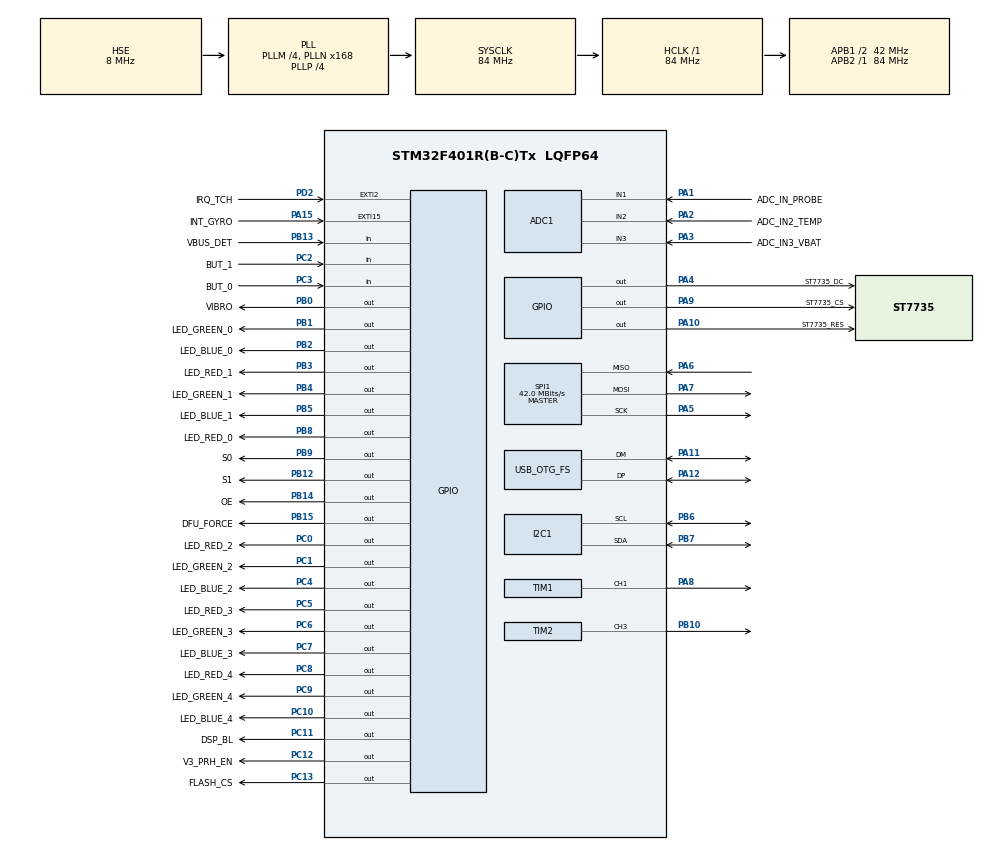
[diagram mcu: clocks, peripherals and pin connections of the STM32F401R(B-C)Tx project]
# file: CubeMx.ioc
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ADC1.Channel-0\#ChannelRegularConversion=ADC_CHANNEL_1
ADC1.ContinuousConvMode=DISABLE
ADC1.DiscontinuousConvMode=DISABLE
ADC1.NbrOfConversion=1
ADC1.NbrOfConversionFlag=1
ADC1.Rank-0\#ChannelRegularConversion=1
ADC1.SamplingTime-0\#ChannelRegularConversion=ADC_SAMPLETIME_112CYCLES
ADC1.ScanConvMode=DISABLE
ADC1.master=1
Dma.Request0=SPI1_RX
Dma.Request1=SPI1_TX
Dma.SPI1_RX.0.Direction=DMA_PERIPH_TO_MEMORY
Dma.SPI1_RX.0.FIFOMode=DMA_FIFOMODE_DISABLE
Dma.SPI1_RX.0.Instance=DMA2_Stream0
Dma.SPI1_RX.0.MemDataAlignment=DMA_MDATAALIGN_BYTE
Dma.SPI1_RX.0.MemInc=DMA_MINC_ENABLE
Dma.SPI1_RX.0.Mode=DMA_NORMAL
Dma.SPI1_RX.0.PeriphDataAlignment=DMA_PDATAALIGN_BYTE
Dma.SPI1_RX.0.PeriphInc=DMA_PINC_DISABLE
Dma.SPI1_RX.0.Priority=DMA_PRIORITY_LOW
Dma.SPI1_TX.1.Direction=DMA_MEMORY_TO_PERIPH
Dma.SPI1_TX.1.FIFOMode=DMA_FIFOMODE_DISABLE
Dma.SPI1_TX.1.Instance=DMA2_Stream3
Dma.SPI1_TX.1.MemDataAlignment=DMA_MDATAALIGN_BYTE
Dma.SPI1_TX.1.MemInc=DMA_MINC_ENABLE
Dma.SPI1_TX.1.Mode=DMA_NORMAL
Dma.SPI1_TX.1.PeriphDataAlignment=DMA_PDATAALIGN_BYTE
Dma.SPI1_TX.1.PeriphInc=DMA_PINC_DISABLE
Dma.SPI1_TX.1.Priority=DMA_PRIORITY_LOW
I2C1.I2C_Mode=I2C_Standard
Mcu.Family=STM32F4
Mcu.Name=STM32F401R(B-C)Tx
Mcu.Package=LQFP64
NVIC.DMA2_Stream0_IRQn=true\:0\:0\:false\:false\:true\:false\:true\:true
NVIC.DMA2_Stream3_IRQn=true\:0\:0\:false\:false\:true\:false\:true\:true
NVIC.EXTI15_10_IRQn=true\:0\:0\:false\:false\:true\:true\:true\:true
NVIC.EXTI2_IRQn=true\:0\:0\:false\:false\:true\:true\:true\:true
NVIC.OTG_FS_IRQn=true\:0\:0\:false\:false\:true\:false\:true\:true
NVIC.PriorityGroup=NVIC_PRIORITYGROUP_4
NVIC.RTC_Alarm_IRQn=true\:0\:0\:false\:false\:true\:true\:true\:true
NVIC.TIM1_UP_TIM10_IRQn=true\:0\:0\:false\:false\:true\:true\:true\:true
NVIC.TIM2_IRQn=true\:0\:0\:false\:false\:true\:true\:true\:true
NVIC.TIM3_IRQn=true\:0\:0\:false\:false\:true\:true\:true\:true
NVIC.TIM4_IRQn=true\:1\:0\:true\:false\:true\:true\:true\:true
PA0-WKUP.Mode=SYS_WakeUp0
PA0-WKUP.Signal=SYS_WKUP
PA1.GPIO_Label=ADC_IN_PROBE
PA1.Signal=ADCx_IN1
PA10.GPIO_Label=ST7735_RES
PA10.Signal=GPIO_Output
PA11.Mode=Device_Only
PA11.Signal=USB_OTG_FS_DM
PA12.Mode=Device_Only
PA12.Signal=USB_OTG_FS_DP
PA13.Mode=Serial_Wire
PA13.Signal=SYS_JTMS-SWDIO
PA14.Mode=Serial_Wire
PA14.Signal=SYS_JTCK-SWCLK
PA15.GPIO_Label=INT_GYRO
PA15.Signal=GPXTI15
PA2.GPIO_Label=ADC_IN2_TEMP
PA2.Signal=ADCx_IN2
PA3.GPIO_Label=ADC_IN3_VBAT
PA3.Signal=ADCx_IN3
PA4.GPIO_Label=ST7735_DC
PA4.Signal=GPIO_Output
PA5.Mode=Full_Duplex_Master
PA5.Signal=SPI1_SCK
PA6.Mode=Full_Duplex_Master
PA6.Signal=SPI1_MISO
PA7.Mode=Full_Duplex_Master
PA7.Signal=SPI1_MOSI
PA8.Signal=S_TIM1_CH1
PA9.GPIO_Label=ST7735_CS
PA9.Signal=GPIO_Output
PB0.GPIO_Label=VIBRO
PB0.Signal=GPIO_Output
PB1.GPIO_Label=LED_GREEN_0
PB1.PinState=GPIO_PIN_SET
PB1.Signal=GPIO_Output
PB10.Signal=S_TIM2_CH3
PB12.GPIO_Label=S1
PB12.Signal=GPIO_Output
PB13.GPIO_Label=VBUS_DET
PB13.Signal=GPIO_Input
PB14.GPIO_Label=OE
PB14.Signal=GPIO_Output
PB15.GPIO_Label=DFU_FORCE
PB15.Signal=GPIO_Output
PB2.GPIO_Label=LED_BLUE_0
PB2.PinState=GPIO_PIN_SET
PB2.Signal=GPIO_Output
PB3.GPIO_Label=LED_RED_1
PB3.PinState=GPIO_PIN_SET
PB3.Signal=GPIO_Output
PB4.GPIO_Label=LED_GREEN_1
PB4.PinState=GPIO_PIN_SET
PB4.Signal=GPIO_Output
PB5.GPIO_Label=LED_BLUE_1
PB5.PinState=GPIO_PIN_SET
PB5.Signal=GPIO_Output
PB6.Mode=I2C
PB6.Signal=I2C1_SCL
PB7.Mode=I2C
PB7.Signal=I2C1_SDA
PB8.GPIO_Label=LED_RED_0
PB8.PinState=GPIO_PIN_SET
PB8.Signal=GPIO_Output
PB9.GPIO_Label=S0
PB9.Signal=GPIO_Output
PC0.GPIO_Label=LED_RED_2
PC0.PinState=GPIO_PIN_SET
PC0.Signal=GPIO_Output
PC1.GPIO_Label=LED_GREEN_2
PC1.PinState=GPIO_PIN_SET
PC1.Signal=GPIO_Output
PC10.GPIO_Label=LED_BLUE_4
PC10.PinState=GPIO_PIN_SET
PC10.Signal=GPIO_Output
PC11.GPIO_Label=DSP_BL
PC11.Signal=GPIO_Output
PC12.GPIO_Label=V3_PRH_EN
PC12.Signal=GPIO_Output
PC13-ANTI_TAMP.GPIO_Label=FLASH_CS
PC13-ANTI_TAMP.Signal=GPIO_Output
PC14-OSC32_IN.Mode=LSE-External-Oscillator
PC14-OSC32_IN.Signal=RCC_OSC32_IN
PC15-OSC32_OUT.Mode=LSE-External-Oscillator
PC15-OSC32_OUT.Signal=RCC_OSC32_OUT
PC2.GPIO_Label=BUT_1
PC2.Signal=GPIO_Input
PC3.GPIO_Label=BUT_0
PC3.Signal=GPIO_Input
PC4.GPIO_Label=LED_BLUE_2
PC4.PinState=GPIO_PIN_SET
PC4.Signal=GPIO_Output
PC5.GPIO_Label=LED_RED_3
PC5.PinState=GPIO_PIN_SET
PC5.Signal=GPIO_Output
PC6.GPIO_Label=LED_GREEN_3
PC6.PinState=GPIO_PIN_SET
PC6.Signal=GPIO_Output
PC7.GPIO_Label=LED_BLUE_3
PC7.PinState=GPIO_PIN_SET
PC7.Signal=GPIO_Output
PC8.GPIO_Label=LED_RED_4
PC8.PinState=GPIO_PIN_SET
PC8.Signal=GPIO_Output
PC9.GPIO_Label=LED_GREEN_4
PC9.PinState=GPIO_PIN_SET
PC9.Signal=GPIO_Output
PD2.GPIO_Label=IRQ_TCH
PD2.GPIO_ModeDefaultEXTI=GPIO_MODE_IT_FALLING
PD2.Signal=GPXTI2
PH0\ -\ OSC_IN.Mode=HSE-External-Oscillator
PH0\ -\ OSC_IN.Signal=RCC_OSC_IN
PH1\ -\ OSC_OUT.Mode=HSE-External-Oscillator
PH1\ -\ OSC_OUT.Signal=RCC_OSC_OUT
ProjectManager.HeapSize=0x200
ProjectManager.StackSize=0x400
ProjectManager.TargetToolchain=STM32CubeIDE
RCC.48MHZClocksFreq_Value=48000000
RCC.AHBFreq_Value=84000000
RCC.APB1CLKDivider=RCC_HCLK_DIV2
RCC.APB1Freq_Value=42000000
RCC.APB1TimFreq_Value=84000000
RCC.APB2Freq_Value=84000000
RCC.APB2TimFreq_Value=84000000
RCC.CortexFreq_Value=84000000
RCC.HCLKFreq_Value=84000000
RCC.HSE_VALUE=8000000
RCC.HSI_VALUE=16000000
RCC.PLLM=4
RCC.PLLN=168
RCC.PLLP=RCC_PLLP_DIV4
RCC.PLLQ=7
RCC.RCC_RTC_Clock_Source=RCC_RTCCLKSOURCE_LSE
RCC.RCC_RTC_Clock_SourceVirtual=RCC_RTCCLKSOURCE_LSE
RCC.SYSCLKFreq_VALUE=84000000
RCC.SYSCLKSource=RCC_SYSCLKSOURCE_PLLCLK
RCC.VCOOutputFreq_Value=336000000
RTC.Alarm=RTC_ALARM_A
RTC.AlarmMaskDateWeekDay=RTC_ALARMMASK_DATEWEEKDAY
RTC.AlarmMaskHours=RTC_ALARMMASK_HOURS
RTC.AlarmMaskMinutes=RTC_ALARMMASK_MINUTES
RTC.AlarmMaskSeconds=RTC_ALARMMASK_SECONDS
SH.ADCx_IN1.0=ADC1_IN1,IN1
SH.ADCx_IN2.0=ADC1_IN2,IN2
SH.ADCx_IN3.0=ADC1_IN3,IN3
SH.S_TIM1_CH1.0=TIM1_CH1,PWM Generation1 CH1
SH.S_TIM2_CH3.0=TIM2_CH3,PWM Generation3 CH3
SPI1.BaudRatePrescaler=SPI_BAUDRATEPRESCALER_2
SPI1.CalculateBaudRate=42.0 MBits/s
SPI1.Direction=SPI_DIRECTION_2LINES
SPI1.Mode=SPI_MODE_MASTER
SPI1.VirtualType=VM_MASTER
TIM1.Channel-PWM\ Generation1\ CH1=TIM_CHANNEL_1
TIM1.Period=100-1
TIM1.Prescaler=820-1
TIM2.Channel-PWM\ Generation3\ CH3=TIM_CHANNEL_3
TIM2.Period=100-1
TIM2.Prescaler=420-1
TIM3.AutoReloadPreload=TIM_AUTORELOAD_PRELOAD_ENABLE
TIM3.Period=100-1
TIM3.Prescaler=1680-1
TIM4.Period=25-1
TIM4.Prescaler=42000-1
USB_DEVICE.CLASS_NAME_FS=CDC
USB_DEVICE.MANUFACTURER_STRING=Milerd Electronics
USB_DEVICE.VirtualMode=Cdc
USB_DEVICE.VirtualModeFS=Cdc_FS
USB_OTG_FS.VirtualMode=Device_Only
VP_RTC_VS_RTC_Activate.Mode=RTC_Enabled
VP_RTC_VS_RTC_Alarm_A_Intern.Mode=Alarm A
VP_RTC_VS_RTC_Calendar.Mode=RTC_Calendar
VP_TIM1_VS_ClockSourceINT.Mode=Internal
VP_TIM2_VS_ClockSourceINT.Mode=Internal
VP_TIM3_VS_ClockSourceINT.Mode=Internal
VP_TIM3_VS_OPM.Mode=OPM_bit
VP_TIM4_VS_ClockSourceINT.Mode=Internal
VP_USB_DEVICE_VS_USB_DEVICE_CDC_FS.Mode=CDC_FS
board=custom

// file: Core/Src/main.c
/* USER CODE BEGIN Header */
/**
  ******************************************************************************
  * @file           : main.c
  * @brief          : Main program body
  ******************************************************************************
  * @attention
  *
  * Copyright (c) 2024 STMicroelectronics.
  * All rights reserved.
  *
  * This software is licensed under terms that can be found in the LICENSE file
  * in the root directory of this software component.
  * If no LICENSE file comes with this software, it is provided AS-IS.
  *
  ******************************************************************************
  */
/* USER CODE END Header */
#include "main.h"
#include "usb_device.h"

/* USER CODE BEGIN Includes */
#include "allmyheaders.h"
/* USER CODE END Includes */

ADC_HandleTypeDef hadc1;

I2C_HandleTypeDef hi2c1;

RTC_HandleTypeDef hrtc;

SPI_HandleTypeDef hspi1;
DMA_HandleTypeDef hdma_spi1_rx;
DMA_HandleTypeDef hdma_spi1_tx;

TIM_HandleTypeDef htim1;
TIM_HandleTypeDef htim2;
TIM_HandleTypeDef htim3;
TIM_HandleTypeDef htim4;

void SystemClock_Config(void);
static void MX_GPIO_Init(void);
static void MX_DMA_Init(void);
static void MX_I2C1_Init(void);
static void MX_RTC_Init(void);
static void MX_SPI1_Init(void);
static void MX_ADC1_Init(void);
static void MX_TIM3_Init(void);
static void MX_TIM2_Init(void);
static void MX_TIM4_Init(void);
static void MX_TIM1_Init(void);

/* USER CODE BEGIN 0 */

uint8_t touch_irq = 0;

uint8_t gl_id_to_display = 0;

void HAL_GPIO_EXTI_Callback(uint16_t GPIO_Pin) {

	if (GPIO_Pin == IRQ_TCH_Pin) {

		touch_irq = 1;
	}
}

//void ADC_Select_Channel(uint32_t ch) {
//    ADC_ChannelConfTypeDef conf = {
//        .Channel = ch,
//        .Rank = 1,
//        .SamplingTime = ADC_SAMPLETIME_84CYCLES,
//    };
//    if (HAL_ADC_ConfigChannel(&hadc1, &conf) != HAL_OK) {
//        Error_Handler();
//    }
//}

/* USER CODE END 0 */

int main(void)
{

  /* MCU Configuration--------------------------------------------------------*/

  /* Reset of all peripherals, Initializes the Flash interface and the Systick. */
  HAL_Init();

  /* Configure the system clock */
  SystemClock_Config();

  /* Initialize all configured peripherals */
  MX_GPIO_Init();
  MX_DMA_Init();
  MX_I2C1_Init();
  MX_RTC_Init();
  MX_SPI1_Init();
  MX_ADC1_Init();
  MX_TIM3_Init();
  MX_TIM2_Init();
  MX_TIM4_Init();
  MX_TIM1_Init();
  MX_USB_DEVICE_Init();
  /* USER CODE BEGIN 2 */

  HAL_GPIO_WritePin(V3_PRH_EN_GPIO_Port, V3_PRH_EN_Pin, GPIO_PIN_SET);
  ST7735_Init();
  ST7735_InvertColors(0);
  ST7735_FillScreen(ST7735_BLACK);
  HAL_GPIO_WritePin(DSP_BL_GPIO_Port, DSP_BL_Pin, GPIO_PIN_SET);

  W25qxx_Init();
  MX_I2C1_Init();
  touch_init();

 // HAL_TIM_Base_Start_IT(&htim4);

  HAL_GPIO_WritePin(OE_GPIO_Port, OE_Pin, GPIO_PIN_RESET); //on mux
  HAL_GPIO_WritePin(S1_GPIO_Port, S1_Pin, GPIO_PIN_RESET);
  HAL_GPIO_WritePin(S0_GPIO_Port, S0_Pin, GPIO_PIN_RESET);
  HAL_TIM_Base_Start_IT(&htim2);
  HAL_TIM_PWM_Start(&htim1, TIM_CHANNEL_1);
  TIM1->CCR1 = 50;

  char char_buffer[10];

   uint16_t conduct0 = 0;
   uint16_t conduct1 = 0;
   uint16_t conduct2 = 0;
   uint16_t conduct_avg = 0;

//   touch_init();
  /* USER CODE END 2 */

  /* Infinite loop */
  /* USER CODE BEGIN WHILE */
  while (1)
  {

	  button_state_determ();
	  //gl_id_to_display  = select_product_id(gl_id_to_display);

	  MPR121_setregister(MHD_R,0x01);
	  page_select();
	  //display_all_measuring_process_and_led(100, 3);
	 // display_selected_product(gl_id_to_display);
//
//
//
//
//
//
//
//
//
//
//
//
//
//
//	  uint16_t adc_values[3];
//	  	  uint32_t channels[] = {
//	  			  ADC_CHANNEL_0,
//	  			  ADC_CHANNEL_1,
//	  			  ADC_CHANNEL_2,
//	  	  };
//
//
//	  	  HAL_GPIO_WritePin(S1_GPIO_Port, S1_Pin, GPIO_PIN_RESET);
//	  	  HAL_GPIO_WritePin(S0_GPIO_Port, S0_Pin, GPIO_PIN_RESET);
//
//	  	  for(int i = 0; i < 3; i++) {
//	  		  ADC_Select_Channel(channels[i]);
//	  		  HAL_ADC_Start(&hadc1);
//	  		  HAL_ADC_PollForConversion(&hadc1, HAL_MAX_DELAY);
//	  		  adc_values[i] = HAL_ADC_GetValue(&hadc1);
//	  		  HAL_ADC_Stop(&hadc1);
//	  	  }
//
//	  	  conduct0 = adc_values[1];
//	  	//  sprintf(char_buffer, "%04d", conduct0);
//	  //	  ST7735_WriteString(55, 3, char_buffer, Font_11x18, ST7735_FNT_LT_DEF, ST7735_BG_DEF);
//
//
//	  	  HAL_GPIO_WritePin(S1_GPIO_Port, S1_Pin, GPIO_PIN_RESET);
//	  	  HAL_GPIO_WritePin(S0_GPIO_Port, S0_Pin, GPIO_PIN_SET);
//
//	  	  for(int i = 0; i < 3; i++) {
//	  	  		  ADC_Select_Channel(channels[i]);
//	  	  		  HAL_ADC_Start(&hadc1);
//	  	  		  HAL_ADC_PollForConversion(&hadc1, HAL_MAX_DELAY);
//	  	  		  adc_values[i] = HAL_ADC_GetValue(&hadc1);
//	  	  		  HAL_ADC_Stop(&hadc1);
//	  	  }
//	  	  conduct1 = adc_values[1];
//	  	//  sprintf(char_buffer, "%04d", conduct1);
//	  	//  ST7735_WriteString(55, 23, char_buffer, Font_11x18, ST7735_FNT_LT_DEF, ST7735_BG_DEF);
////
//
//	  	  HAL_GPIO_WritePin(S1_GPIO_Port, S1_Pin, GPIO_PIN_SET);
//	  	  HAL_GPIO_WritePin(S0_GPIO_Port, S0_Pin, GPIO_PIN_RESET);
//
//	  	  for(int i = 0; i < 3; i++) {
//	  	  		  ADC_Select_Channel(channels[i]);
//	  	  		  HAL_ADC_Start(&hadc1);
//	  	  		  HAL_ADC_PollForConversion(&hadc1, HAL_MAX_DELAY);
//	  	  		  adc_values[i] = HAL_ADC_GetValue(&hadc1);
//	  	  		  HAL_ADC_Stop(&hadc1);
//	  	  }
//	  	  conduct2 = adc_values[1];
//	  	//  sprintf(char_buffer, "%04d", conduct2);
//	  	//  ST7735_WriteString(55, 43, char_buffer, Font_11x18, ST7735_FNT_LT_DEF, ST7735_BG_DEF);
//
//	  	  conduct_avg = (conduct0+conduct1+conduct2)/3;

	  	  but_state_reset();
  }

    /* USER CODE END WHILE */

}

void SystemClock_Config(void)
{
  RCC_OscInitTypeDef RCC_OscInitStruct = {0};
  RCC_ClkInitTypeDef RCC_ClkInitStruct = {0};

  /** Configure the main internal regulator output voltage
  */
  __HAL_RCC_PWR_CLK_ENABLE();
  __HAL_PWR_VOLTAGESCALING_CONFIG(PWR_REGULATOR_VOLTAGE_SCALE2);

  /** Initializes the RCC Oscillators according to the specified parameters
  * in the RCC_OscInitTypeDef structure.
  */
  RCC_OscInitStruct.OscillatorType = RCC_OSCILLATORTYPE_HSE|RCC_OSCILLATORTYPE_LSE;
  RCC_OscInitStruct.HSEState = RCC_HSE_ON;
  RCC_OscInitStruct.LSEState = RCC_LSE_ON;
  RCC_OscInitStruct.PLL.PLLState = RCC_PLL_ON;
  RCC_OscInitStruct.PLL.PLLSource = RCC_PLLSOURCE_HSE;
  RCC_OscInitStruct.PLL.PLLM = 4;
  RCC_OscInitStruct.PLL.PLLN = 168;
  RCC_OscInitStruct.PLL.PLLP = RCC_PLLP_DIV4;
  RCC_OscInitStruct.PLL.PLLQ = 7;
  if (HAL_RCC_OscConfig(&RCC_OscInitStruct) != HAL_OK)
  {
    Error_Handler();
  }

  /** Initializes the CPU, AHB and APB buses clocks
  */
  RCC_ClkInitStruct.ClockType = RCC_CLOCKTYPE_HCLK|RCC_CLOCKTYPE_SYSCLK
                              |RCC_CLOCKTYPE_PCLK1|RCC_CLOCKTYPE_PCLK2;
  RCC_ClkInitStruct.SYSCLKSource = RCC_SYSCLKSOURCE_PLLCLK;
  RCC_ClkInitStruct.AHBCLKDivider = RCC_SYSCLK_DIV1;
  RCC_ClkInitStruct.APB1CLKDivider = RCC_HCLK_DIV2;
  RCC_ClkInitStruct.APB2CLKDivider = RCC_HCLK_DIV1;

  if (HAL_RCC_ClockConfig(&RCC_ClkInitStruct, FLASH_LATENCY_2) != HAL_OK)
  {
    Error_Handler();
  }
}

static void MX_ADC1_Init(void)
{

  ADC_ChannelConfTypeDef sConfig = {0};

  /** Configure the global features of the ADC (Clock, Resolution, Data Alignment and number of conversion)
  */
  hadc1.Instance = ADC1;
  hadc1.Init.ClockPrescaler = ADC_CLOCK_SYNC_PCLK_DIV4;
  hadc1.Init.Resolution = ADC_RESOLUTION_12B;
  hadc1.Init.ScanConvMode = DISABLE;
  hadc1.Init.ContinuousConvMode = DISABLE;
  hadc1.Init.DiscontinuousConvMode = DISABLE;
  hadc1.Init.ExternalTrigConvEdge = ADC_EXTERNALTRIGCONVEDGE_NONE;
  hadc1.Init.ExternalTrigConv = ADC_SOFTWARE_START;
  hadc1.Init.DataAlign = ADC_DATAALIGN_RIGHT;
  hadc1.Init.NbrOfConversion = 1;
  hadc1.Init.DMAContinuousRequests = DISABLE;
  hadc1.Init.EOCSelection = ADC_EOC_SINGLE_CONV;
  if (HAL_ADC_Init(&hadc1) != HAL_OK)
  {
    Error_Handler();
  }

  /** Configure for the selected ADC regular channel its corresponding rank in the sequencer and its sample time.
  */
  sConfig.Channel = ADC_CHANNEL_1;
  sConfig.Rank = 1;
  sConfig.SamplingTime = ADC_SAMPLETIME_112CYCLES;
  if (HAL_ADC_ConfigChannel(&hadc1, &sConfig) != HAL_OK)
  {
    Error_Handler();
  }

}

static void MX_I2C1_Init(void)
{

  hi2c1.Instance = I2C1;
  hi2c1.Init.ClockSpeed = 100000;
  hi2c1.Init.DutyCycle = I2C_DUTYCYCLE_2;
  hi2c1.Init.OwnAddress1 = 0;
  hi2c1.Init.AddressingMode = I2C_ADDRESSINGMODE_7BIT;
  hi2c1.Init.DualAddressMode = I2C_DUALADDRESS_DISABLE;
  hi2c1.Init.OwnAddress2 = 0;
  hi2c1.Init.GeneralCallMode = I2C_GENERALCALL_DISABLE;
  hi2c1.Init.NoStretchMode = I2C_NOSTRETCH_DISABLE;
  if (HAL_I2C_Init(&hi2c1) != HAL_OK)
  {
    Error_Handler();
  }

}

static void MX_RTC_Init(void)
{

  RTC_TimeTypeDef sTime = {0};
  RTC_DateTypeDef sDate = {0};
  RTC_AlarmTypeDef sAlarm = {0};

  /** Initialize RTC Only
  */
  hrtc.Instance = RTC;
  hrtc.Init.HourFormat = RTC_HOURFORMAT_24;
  hrtc.Init.AsynchPrediv = 127;
  hrtc.Init.SynchPrediv = 255;
  hrtc.Init.OutPut = RTC_OUTPUT_DISABLE;
  hrtc.Init.OutPutPolarity = RTC_OUTPUT_POLARITY_HIGH;
  hrtc.Init.OutPutType = RTC_OUTPUT_TYPE_OPENDRAIN;
  if (HAL_RTC_Init(&hrtc) != HAL_OK)
  {
    Error_Handler();
  }

  /** Initialize RTC and set the Time and Date
  */
  sTime.Hours = 0x0;
  sTime.Minutes = 0x0;
  sTime.Seconds = 0x0;
  sTime.DayLightSaving = RTC_DAYLIGHTSAVING_NONE;
  sTime.StoreOperation = RTC_STOREOPERATION_RESET;
  if (HAL_RTC_SetTime(&hrtc, &sTime, RTC_FORMAT_BCD) != HAL_OK)
  {
    Error_Handler();
  }
  sDate.WeekDay = RTC_WEEKDAY_MONDAY;
  sDate.Month = RTC_MONTH_JANUARY;
  sDate.Date = 0x1;
  sDate.Year = 0x0;

  if (HAL_RTC_SetDate(&hrtc, &sDate, RTC_FORMAT_BCD) != HAL_OK)
  {
    Error_Handler();
  }

  /** Enable the Alarm A
  */
  sAlarm.AlarmTime.Hours = 0x0;
  sAlarm.AlarmTime.Minutes = 0x0;
  sAlarm.AlarmTime.Seconds = 0x0;
  sAlarm.AlarmTime.SubSeconds = 0x0;
  sAlarm.AlarmTime.DayLightSaving = RTC_DAYLIGHTSAVING_NONE;
  sAlarm.AlarmTime.StoreOperation = RTC_STOREOPERATION_RESET;
  sAlarm.AlarmMask = RTC_ALARMMASK_ALL;
  sAlarm.AlarmSubSecondMask = RTC_ALARMSUBSECONDMASK_ALL;
  sAlarm.AlarmDateWeekDaySel = RTC_ALARMDATEWEEKDAYSEL_DATE;
  sAlarm.AlarmDateWeekDay = 0x1;
  sAlarm.Alarm = RTC_ALARM_A;
  if (HAL_RTC_SetAlarm_IT(&hrtc, &sAlarm, RTC_FORMAT_BCD) != HAL_OK)
  {
    Error_Handler();
  }

}

static void MX_SPI1_Init(void)
{

  /* SPI1 parameter configuration*/
  hspi1.Instance = SPI1;
  hspi1.Init.Mode = SPI_MODE_MASTER;
  hspi1.Init.Direction = SPI_DIRECTION_2LINES;
  hspi1.Init.DataSize = SPI_DATASIZE_8BIT;
  hspi1.Init.CLKPolarity = SPI_POLARITY_LOW;
  hspi1.Init.CLKPhase = SPI_PHASE_1EDGE;
  hspi1.Init.NSS = SPI_NSS_SOFT;
  hspi1.Init.BaudRatePrescaler = SPI_BAUDRATEPRESCALER_2;
  hspi1.Init.FirstBit = SPI_FIRSTBIT_MSB;
  hspi1.Init.TIMode = SPI_TIMODE_DISABLE;
  hspi1.Init.CRCCalculation = SPI_CRCCALCULATION_DISABLE;
  hspi1.Init.CRCPolynomial = 10;
  if (HAL_SPI_Init(&hspi1) != HAL_OK)
  {
    Error_Handler();
  }

}

static void MX_TIM1_Init(void)
{

  TIM_ClockConfigTypeDef sClockSourceConfig = {0};
  TIM_MasterConfigTypeDef sMasterConfig = {0};
  TIM_OC_InitTypeDef sConfigOC = {0};
  TIM_BreakDeadTimeConfigTypeDef sBreakDeadTimeConfig = {0};

  htim1.Instance = TIM1;
  htim1.Init.Prescaler = 820-1;
  htim1.Init.CounterMode = TIM_COUNTERMODE_UP;
  htim1.Init.Period = 100-1;
  htim1.Init.ClockDivision = TIM_CLOCKDIVISION_DIV1;
  htim1.Init.RepetitionCounter = 0;
  htim1.Init.AutoReloadPreload = TIM_AUTORELOAD_PRELOAD_DISABLE;
  if (HAL_TIM_Base_Init(&htim1) != HAL_OK)
  {
    Error_Handler();
  }
  sClockSourceConfig.ClockSource = TIM_CLOCKSOURCE_INTERNAL;
  if (HAL_TIM_ConfigClockSource(&htim1, &sClockSourceConfig) != HAL_OK)
  {
    Error_Handler();
  }
  if (HAL_TIM_PWM_Init(&htim1) != HAL_OK)
  {
    Error_Handler();
  }
  sMasterConfig.MasterOutputTrigger = TIM_TRGO_RESET;
  sMasterConfig.MasterSlaveMode = TIM_MASTERSLAVEMODE_DISABLE;
  if (HAL_TIMEx_MasterConfigSynchronization(&htim1, &sMasterConfig) != HAL_OK)
  {
    Error_Handler();
  }
  sConfigOC.OCMode = TIM_OCMODE_PWM1;
  sConfigOC.Pulse = 0;
  sConfigOC.OCPolarity = TIM_OCPOLARITY_HIGH;
  sConfigOC.OCNPolarity = TIM_OCNPOLARITY_HIGH;
  sConfigOC.OCFastMode = TIM_OCFAST_DISABLE;
  sConfigOC.OCIdleState = TIM_OCIDLESTATE_RESET;
  sConfigOC.OCNIdleState = TIM_OCNIDLESTATE_RESET;
  if (HAL_TIM_PWM_ConfigChannel(&htim1, &sConfigOC, TIM_CHANNEL_1) != HAL_OK)
  {
    Error_Handler();
  }
  sBreakDeadTimeConfig.OffStateRunMode = TIM_OSSR_DISABLE;
  sBreakDeadTimeConfig.OffStateIDLEMode = TIM_OSSI_DISABLE;
  sBreakDeadTimeConfig.LockLevel = TIM_LOCKLEVEL_OFF;
  sBreakDeadTimeConfig.DeadTime = 0;
  sBreakDeadTimeConfig.BreakState = TIM_BREAK_DISABLE;
  sBreakDeadTimeConfig.BreakPolarity = TIM_BREAKPOLARITY_HIGH;
  sBreakDeadTimeConfig.AutomaticOutput = TIM_AUTOMATICOUTPUT_DISABLE;
  if (HAL_TIMEx_ConfigBreakDeadTime(&htim1, &sBreakDeadTimeConfig) != HAL_OK)
  {
    Error_Handler();
  }
  HAL_TIM_MspPostInit(&htim1);

}

static void MX_TIM2_Init(void)
{

  TIM_ClockConfigTypeDef sClockSourceConfig = {0};
  TIM_MasterConfigTypeDef sMasterConfig = {0};
  TIM_OC_InitTypeDef sConfigOC = {0};

  htim2.Instance = TIM2;
  htim2.Init.Prescaler = 420-1;
  htim2.Init.CounterMode = TIM_COUNTERMODE_UP;
  htim2.Init.Period = 100-1;
  htim2.Init.ClockDivision = TIM_CLOCKDIVISION_DIV1;
  htim2.Init.AutoReloadPreload = TIM_AUTORELOAD_PRELOAD_DISABLE;
  if (HAL_TIM_Base_Init(&htim2) != HAL_OK)
  {
    Error_Handler();
  }
  sClockSourceConfig.ClockSource = TIM_CLOCKSOURCE_INTERNAL;
  if (HAL_TIM_ConfigClockSource(&htim2, &sClockSourceConfig) != HAL_OK)
  {
    Error_Handler();
  }
  if (HAL_TIM_PWM_Init(&htim2) != HAL_OK)
  {
    Error_Handler();
  }
  sMasterConfig.MasterOutputTrigger = TIM_TRGO_RESET;
  sMasterConfig.MasterSlaveMode = TIM_MASTERSLAVEMODE_DISABLE;
  if (HAL_TIMEx_MasterConfigSynchronization(&htim2, &sMasterConfig) != HAL_OK)
  {
    Error_Handler();
  }
  sConfigOC.OCMode = TIM_OCMODE_PWM1;
  sConfigOC.Pulse = 0;
  sConfigOC.OCPolarity = TIM_OCPOLARITY_HIGH;
  sConfigOC.OCFastMode = TIM_OCFAST_DISABLE;
  if (HAL_TIM_PWM_ConfigChannel(&htim2, &sConfigOC, TIM_CHANNEL_3) != HAL_OK)
  {
    Error_Handler();
  }
  HAL_TIM_MspPostInit(&htim2);

}

static void MX_TIM3_Init(void)
{

  TIM_ClockConfigTypeDef sClockSourceConfig = {0};
  TIM_MasterConfigTypeDef sMasterConfig = {0};

  htim3.Instance = TIM3;
  htim3.Init.Prescaler = 1680-1;
  htim3.Init.CounterMode = TIM_COUNTERMODE_UP;
  htim3.Init.Period = 100-1;
  htim3.Init.ClockDivision = TIM_CLOCKDIVISION_DIV1;
  htim3.Init.AutoReloadPreload = TIM_AUTORELOAD_PRELOAD_ENABLE;
  if (HAL_TIM_Base_Init(&htim3) != HAL_OK)
  {
    Error_Handler();
  }
  sClockSourceConfig.ClockSource = TIM_CLOCKSOURCE_INTERNAL;
  if (HAL_TIM_ConfigClockSource(&htim3, &sClockSourceConfig) != HAL_OK)
  {
    Error_Handler();
  }
  if (HAL_TIM_OnePulse_Init(&htim3, TIM_OPMODE_SINGLE) != HAL_OK)
  {
    Error_Handler();
  }
  sMasterConfig.MasterOutputTrigger = TIM_TRGO_RESET;
  sMasterConfig.MasterSlaveMode = TIM_MASTERSLAVEMODE_DISABLE;
  if (HAL_TIMEx_MasterConfigSynchronization(&htim3, &sMasterConfig) != HAL_OK)
  {
    Error_Handler();
  }

}

static void MX_TIM4_Init(void)
{

  TIM_ClockConfigTypeDef sClockSourceConfig = {0};
  TIM_MasterConfigTypeDef sMasterConfig = {0};

  htim4.Instance = TIM4;
  htim4.Init.Prescaler = 42000-1;
  htim4.Init.CounterMode = TIM_COUNTERMODE_UP;
  htim4.Init.Period = 25-1;
  htim4.Init.ClockDivision = TIM_CLOCKDIVISION_DIV1;
  htim4.Init.AutoReloadPreload = TIM_AUTORELOAD_PRELOAD_DISABLE;
  if (HAL_TIM_Base_Init(&htim4) != HAL_OK)
  {
    Error_Handler();
  }
  sClockSourceConfig.ClockSource = TIM_CLOCKSOURCE_INTERNAL;
  if (HAL_TIM_ConfigClockSource(&htim4, &sClockSourceConfig) != HAL_OK)
  {
    Error_Handler();
  }
  sMasterConfig.MasterOutputTrigger = TIM_TRGO_RESET;
  sMasterConfig.MasterSlaveMode = TIM_MASTERSLAVEMODE_DISABLE;
  if (HAL_TIMEx_MasterConfigSynchronization(&htim4, &sMasterConfig) != HAL_OK)
  {
    Error_Handler();
  }

}

static void MX_DMA_Init(void)
{

  /* DMA controller clock enable */
  __HAL_RCC_DMA2_CLK_ENABLE();

  /* DMA interrupt init */
  /* DMA2_Stream0_IRQn interrupt configuration */
  HAL_NVIC_SetPriority(DMA2_Stream0_IRQn, 0, 0);
  HAL_NVIC_EnableIRQ(DMA2_Stream0_IRQn);
  /* DMA2_Stream3_IRQn interrupt configuration */
  HAL_NVIC_SetPriority(DMA2_Stream3_IRQn, 0, 0);
  HAL_NVIC_EnableIRQ(DMA2_Stream3_IRQn);

}

static void MX_GPIO_Init(void)
{
  GPIO_InitTypeDef GPIO_InitStruct = {0};

  /* GPIO Ports Clock Enable */
  __HAL_RCC_GPIOC_CLK_ENABLE();
  __HAL_RCC_GPIOH_CLK_ENABLE();
  __HAL_RCC_GPIOA_CLK_ENABLE();
  __HAL_RCC_GPIOB_CLK_ENABLE();
  __HAL_RCC_GPIOD_CLK_ENABLE();

  /*Configure GPIO pin Output Level */
  HAL_GPIO_WritePin(GPIOC, FLASH_CS_Pin|DSP_BL_Pin|V3_PRH_EN_Pin, GPIO_PIN_RESET);

  /*Configure GPIO pin Output Level */
  HAL_GPIO_WritePin(GPIOC, LED_RED_2_Pin|LED_GREEN_2_Pin|LED_BLUE_2_Pin|LED_RED_3_Pin
                          |LED_GREEN_3_Pin|LED_BLUE_3_Pin|LED_RED_4_Pin|LED_GREEN_4_Pin
                          |LED_BLUE_4_Pin, GPIO_PIN_SET);

  /*Configure GPIO pin Output Level */
  HAL_GPIO_WritePin(GPIOA, ST7735_DC_Pin|ST7735_CS_Pin|ST7735_RES_Pin, GPIO_PIN_RESET);

  /*Configure GPIO pin Output Level */
  HAL_GPIO_WritePin(GPIOB, VIBRO_Pin|S1_Pin|OE_Pin|DFU_FORCE_Pin
                          |S0_Pin, GPIO_PIN_RESET);

  /*Configure GPIO pin Output Level */
  HAL_GPIO_WritePin(GPIOB, LED_GREEN_0_Pin|LED_BLUE_0_Pin|LED_RED_1_Pin|LED_GREEN_1_Pin
                          |LED_BLUE_1_Pin|LED_RED_0_Pin, GPIO_PIN_SET);

  /*Configure GPIO pins : FLASH_CS_Pin LED_RED_2_Pin LED_GREEN_2_Pin LED_BLUE_2_Pin
                           LED_RED_3_Pin LED_GREEN_3_Pin LED_BLUE_3_Pin LED_RED_4_Pin
                           LED_GREEN_4_Pin LED_BLUE_4_Pin DSP_BL_Pin V3_PRH_EN_Pin */
  GPIO_InitStruct.Pin = FLASH_CS_Pin|LED_RED_2_Pin|LED_GREEN_2_Pin|LED_BLUE_2_Pin
                          |LED_RED_3_Pin|LED_GREEN_3_Pin|LED_BLUE_3_Pin|LED_RED_4_Pin
                          |LED_GREEN_4_Pin|LED_BLUE_4_Pin|DSP_BL_Pin|V3_PRH_EN_Pin;
  GPIO_InitStruct.Mode = GPIO_MODE_OUTPUT_PP;
  GPIO_InitStruct.Pull = GPIO_NOPULL;
  GPIO_InitStruct.Speed = GPIO_SPEED_FREQ_LOW;
  HAL_GPIO_Init(GPIOC, &GPIO_InitStruct);

  /*Configure GPIO pins : BUT_1_Pin BUT_0_Pin */
  GPIO_InitStruct.Pin = BUT_1_Pin|BUT_0_Pin;
  GPIO_InitStruct.Mode = GPIO_MODE_INPUT;
  GPIO_InitStruct.Pull = GPIO_NOPULL;
  HAL_GPIO_Init(GPIOC, &GPIO_InitStruct);

  /*Configure GPIO pins : ST7735_DC_Pin ST7735_CS_Pin ST7735_RES_Pin */
  GPIO_InitStruct.Pin = ST7735_DC_Pin|ST7735_CS_Pin|ST7735_RES_Pin;
  GPIO_InitStruct.Mode = GPIO_MODE_OUTPUT_PP;
  GPIO_InitStruct.Pull = GPIO_NOPULL;
  GPIO_InitStruct.Speed = GPIO_SPEED_FREQ_LOW;
  HAL_GPIO_Init(GPIOA, &GPIO_InitStruct);

  /*Configure GPIO pins : VIBRO_Pin LED_GREEN_0_Pin LED_BLUE_0_Pin S1_Pin
                           OE_Pin DFU_FORCE_Pin LED_RED_1_Pin LED_GREEN_1_Pin
                           LED_BLUE_1_Pin LED_RED_0_Pin S0_Pin */
  GPIO_InitStruct.Pin = VIBRO_Pin|LED_GREEN_0_Pin|LED_BLUE_0_Pin|S1_Pin
                          |OE_Pin|DFU_FORCE_Pin|LED_RED_1_Pin|LED_GREEN_1_Pin
                          |LED_BLUE_1_Pin|LED_RED_0_Pin|S0_Pin;
  GPIO_InitStruct.Mode = GPIO_MODE_OUTPUT_PP;
  GPIO_InitStruct.Pull = GPIO_NOPULL;
  GPIO_InitStruct.Speed = GPIO_SPEED_FREQ_LOW;
  HAL_GPIO_Init(GPIOB, &GPIO_InitStruct);

  /*Configure GPIO pin : VBUS_DET_Pin */
  GPIO_InitStruct.Pin = VBUS_DET_Pin;
  GPIO_InitStruct.Mode = GPIO_MODE_INPUT;
  GPIO_InitStruct.Pull = GPIO_NOPULL;
  HAL_GPIO_Init(VBUS_DET_GPIO_Port, &GPIO_InitStruct);

  /*Configure GPIO pin : INT_GYRO_Pin */
  GPIO_InitStruct.Pin = INT_GYRO_Pin;
  GPIO_InitStruct.Mode = GPIO_MODE_IT_RISING;
  GPIO_InitStruct.Pull = GPIO_NOPULL;
  HAL_GPIO_Init(INT_GYRO_GPIO_Port, &GPIO_InitStruct);

  /*Configure GPIO pin : IRQ_TCH_Pin */
  GPIO_InitStruct.Pin = IRQ_TCH_Pin;
  GPIO_InitStruct.Mode = GPIO_MODE_IT_FALLING;
  GPIO_InitStruct.Pull = GPIO_NOPULL;
  HAL_GPIO_Init(IRQ_TCH_GPIO_Port, &GPIO_InitStruct);

  /* EXTI interrupt init*/
  HAL_NVIC_SetPriority(EXTI2_IRQn, 0, 0);
  HAL_NVIC_EnableIRQ(EXTI2_IRQn);

  HAL_NVIC_SetPriority(EXTI15_10_IRQn, 0, 0);
  HAL_NVIC_EnableIRQ(EXTI15_10_IRQn);

}

void Error_Handler(void)
{
  __disable_irq();
  while (1)
  {
  }
}
